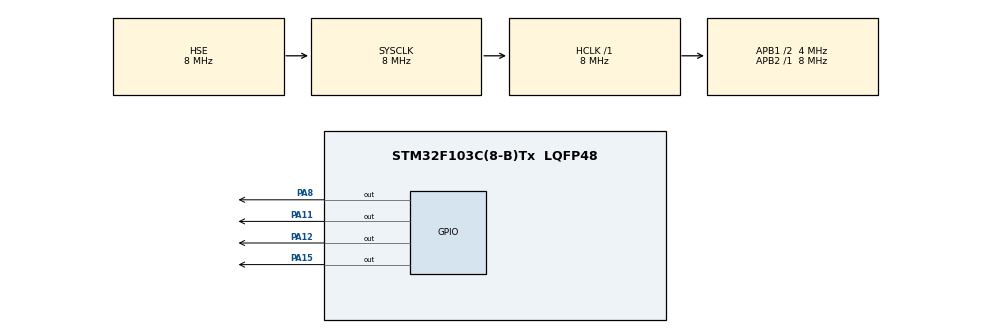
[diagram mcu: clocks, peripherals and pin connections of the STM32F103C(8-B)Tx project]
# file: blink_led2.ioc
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Mcu.Family=STM32F1
Mcu.Name=STM32F103C(8-B)Tx
Mcu.Package=LQFP48
NVIC.PriorityGroup=NVIC_PRIORITYGROUP_4
PA11.Signal=GPIO_Output
PA12.Signal=GPIO_Output
PA13.Mode=Serial_Wire
PA13.Signal=SYS_JTMS-SWDIO
PA14.Mode=Serial_Wire
PA14.Signal=SYS_JTCK-SWCLK
PA15.Signal=GPIO_Output
PA8.Signal=GPIO_Output
PD0-OSC_IN.Mode=HSE-External-Oscillator
PD0-OSC_IN.Signal=RCC_OSC_IN
PD1-OSC_OUT.Mode=HSE-External-Oscillator
PD1-OSC_OUT.Signal=RCC_OSC_OUT
ProjectManager.HeapSize=0x200
ProjectManager.StackSize=0x400
ProjectManager.TargetToolchain=STM32CubeIDE
RCC.AHBFreq_Value=8000000
RCC.APB1CLKDivider=RCC_HCLK_DIV2
RCC.APB1Freq_Value=4000000
RCC.APB1TimFreq_Value=8000000
RCC.APB2Freq_Value=8000000
RCC.APB2TimFreq_Value=8000000
RCC.HCLKFreq_Value=8000000
RCC.SYSCLKFreq_VALUE=8000000
RCC.SYSCLKSource=RCC_SYSCLKSOURCE_HSE
RCC.USBFreq_Value=8000000
board=custom

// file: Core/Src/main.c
/* USER CODE BEGIN Header */
/**
  ******************************************************************************
  * @file           : main.c
  * @brief          : Main program body
  ******************************************************************************
  * @attention
  *
  * Copyright (c) 2024 STMicroelectronics.
  * All rights reserved.
  *
  * This software is licensed under terms that can be found in the LICENSE file
  * in the root directory of this software component.
  * If no LICENSE file comes with this software, it is provided AS-IS.
  *
  ******************************************************************************
  */
/* USER CODE END Header */
#include "main.h"

void SystemClock_Config(void);
static void MX_GPIO_Init(void);

int main(void)
{

  /* MCU Configuration--------------------------------------------------------*/

  /* Reset of all peripherals, Initializes the Flash interface and the Systick. */
  HAL_Init();

  /* Configure the system clock */
  SystemClock_Config();

  /* Initialize all configured peripherals */
  MX_GPIO_Init();

  /* Infinite loop */
  /* USER CODE BEGIN WHILE */
  while (1)
  {
	  HAL_GPIO_WritePin(GPIOA, GPIO_PIN_8, 1);
	  HAL_GPIO_WritePin(GPIOA, GPIO_PIN_11, 1);
	  HAL_GPIO_WritePin(GPIOA, GPIO_PIN_12, 1);
	  HAL_GPIO_WritePin(GPIOA, GPIO_PIN_15, 1);

	  HAL_Delay(500);

	  HAL_GPIO_WritePin(GPIOA, GPIO_PIN_8, 0);
	  HAL_GPIO_WritePin(GPIOA, GPIO_PIN_11, 0);
	  HAL_GPIO_WritePin(GPIOA, GPIO_PIN_12, 0);
	  HAL_GPIO_WritePin(GPIOA, GPIO_PIN_15, 0);

	  HAL_Delay(500);

	  HAL_GPIO_WritePin(GPIOA, GPIO_PIN_8, 1);
	  HAL_GPIO_WritePin(GPIOA, GPIO_PIN_11, 1);
	  HAL_GPIO_WritePin(GPIOA, GPIO_PIN_12, 1);
	  HAL_GPIO_WritePin(GPIOA, GPIO_PIN_15, 1);

	  HAL_Delay(500);

	  HAL_GPIO_WritePin(GPIOA, GPIO_PIN_8, 1);
	  HAL_GPIO_WritePin(GPIOA, GPIO_PIN_11, 0);
	  HAL_GPIO_WritePin(GPIOA, GPIO_PIN_12, 0);
	  HAL_GPIO_WritePin(GPIOA, GPIO_PIN_15, 1);

	  HAL_Delay(500);

	  HAL_GPIO_WritePin(GPIOA, GPIO_PIN_8, 1);
	  HAL_GPIO_WritePin(GPIOA, GPIO_PIN_11, 1);
	  HAL_GPIO_WritePin(GPIOA, GPIO_PIN_12, 1);
	  HAL_GPIO_WritePin(GPIOA, GPIO_PIN_15, 1);

	  HAL_Delay(500);

	  HAL_GPIO_WritePin(GPIOA, GPIO_PIN_8, 0);
	  HAL_GPIO_WritePin(GPIOA, GPIO_PIN_11, 1);
	  HAL_GPIO_WritePin(GPIOA, GPIO_PIN_12, 1);
	  HAL_GPIO_WritePin(GPIOA, GPIO_PIN_15, 0);

	  HAL_Delay(500);
    /* USER CODE END WHILE */

  }
}

void SystemClock_Config(void)
{
  RCC_OscInitTypeDef RCC_OscInitStruct = {0};
  RCC_ClkInitTypeDef RCC_ClkInitStruct = {0};

  /** Initializes the RCC Oscillators according to the specified parameters
  * in the RCC_OscInitTypeDef structure.
  */
  RCC_OscInitStruct.OscillatorType = RCC_OSCILLATORTYPE_HSE;
  RCC_OscInitStruct.HSEState = RCC_HSE_ON;
  RCC_OscInitStruct.PLL.PLLState = RCC_PLL_NONE;
  if (HAL_RCC_OscConfig(&RCC_OscInitStruct) != HAL_OK)
  {
    Error_Handler();
  }

  /** Initializes the CPU, AHB and APB buses clocks
  */
  RCC_ClkInitStruct.ClockType = RCC_CLOCKTYPE_HCLK|RCC_CLOCKTYPE_SYSCLK
                              |RCC_CLOCKTYPE_PCLK1|RCC_CLOCKTYPE_PCLK2;
  RCC_ClkInitStruct.SYSCLKSource = RCC_SYSCLKSOURCE_HSE;
  RCC_ClkInitStruct.AHBCLKDivider = RCC_SYSCLK_DIV1;
  RCC_ClkInitStruct.APB1CLKDivider = RCC_HCLK_DIV2;
  RCC_ClkInitStruct.APB2CLKDivider = RCC_HCLK_DIV1;

  if (HAL_RCC_ClockConfig(&RCC_ClkInitStruct, FLASH_LATENCY_0) != HAL_OK)
  {
    Error_Handler();
  }
}

static void MX_GPIO_Init(void)
{
  GPIO_InitTypeDef GPIO_InitStruct = {0};

  /* GPIO Ports Clock Enable */
  __HAL_RCC_GPIOD_CLK_ENABLE();
  __HAL_RCC_GPIOA_CLK_ENABLE();

  /*Configure GPIO pin Output Level */
  HAL_GPIO_WritePin(GPIOA, GPIO_PIN_8|GPIO_PIN_11|GPIO_PIN_12|GPIO_PIN_15, GPIO_PIN_RESET);

  /*Configure GPIO pins : PA8 PA11 PA12 PA15 */
  GPIO_InitStruct.Pin = GPIO_PIN_8|GPIO_PIN_11|GPIO_PIN_12|GPIO_PIN_15;
  GPIO_InitStruct.Mode = GPIO_MODE_OUTPUT_PP;
  GPIO_InitStruct.Pull = GPIO_NOPULL;
  GPIO_InitStruct.Speed = GPIO_SPEED_FREQ_LOW;
  HAL_GPIO_Init(GPIOA, &GPIO_InitStruct);

}

void Error_Handler(void)
{
  __disable_irq();
  while (1)
  {
  }
}
